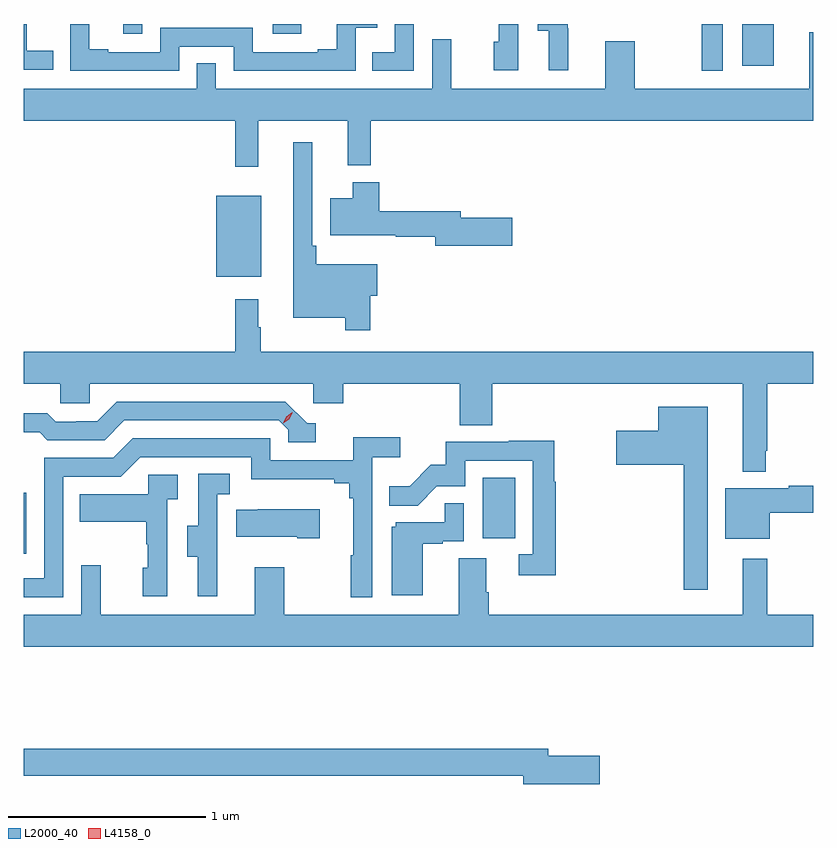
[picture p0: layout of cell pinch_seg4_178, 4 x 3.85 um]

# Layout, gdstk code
import gdstk
lib = gdstk.Library(unit=1e-6, precision=1e-09)
def R(c, l, rs):  # rectangles x0, y0, x1, y1
    for r in rs: c.add(gdstk.rectangle(r[:2], r[2:], *l))
def P(c, l, *ps):  # polygons
    for p in ps: c.add(gdstk.Polygon(p, *l))
L2000_40 = (2000, 40)
L4158_0 = (4158, 0)

pinch_seg4_178 = lib.new_cell('pinch_seg4_178')
R(pinch_seg4_178, L2000_40, [(1091.662,793.296,1091.676,793.606), (1093.988,793.374,1094.152,793.681), (1092.638,794.699,1092.865,795.109), (1095.096,795.741,1095.204,795.979), (1095.302,795.768,1095.46,795.979), (1092.167,795.93,1092.264,795.979), (1092.923,795.93,1093.067,795.979)])
P(pinch_seg4_178, L2000_40, [(1092.45,795.864),(1092.726,795.864),(1092.726,795.741),(1093.344,795.741),(1093.344,795.96),(1093.452,795.96),(1093.452,795.979),(1093.247,795.979),(1093.247,795.85),(1093.151,795.85),(1093.151,795.837),(1092.822,795.837),(1092.822,795.96),(1092.354,795.96),(1092.354,795.837),(1092.091,795.837),(1092.091,795.85),(1091.995,795.85),(1091.995,795.979),(1091.766,795.979),(1091.766,795.977),(1091.898,795.977),(1091.898,795.741),(1092.45,795.741)],
  [(1091.813,795.844),(1091.679,795.844),(1091.679,795.979),(1091.662,795.979),(1091.662,795.747),(1091.813,795.747)],
  [(1094.166,795.979),(1094.068,795.979),(1094.068,795.888),(1094.042,795.888),(1094.042,795.744),(1094.166,795.744)],
  [(1093.638,795.979),(1093.542,795.979),(1093.542,795.837),(1093.429,795.837),(1093.429,795.741),(1093.638,795.741)],
  [(1094.42,795.957),(1094.418,795.957),(1094.418,795.979),(1094.267,795.979),(1094.267,795.946),(1094.321,795.946),(1094.321,795.744),(1094.42,795.744)],
  [(1092.851,795.488),(1093.304,795.488),(1093.304,795.263),(1093.421,795.263),(1093.421,795.488),(1095.662,795.488),(1095.662,795.938),(1095.641,795.938),(1095.641,795.652),(1094.757,795.652),(1094.757,795.892),(1094.609,795.892),(1094.609,795.652),(1093.829,795.652),(1093.829,795.901),(1093.731,795.901),(1093.731,795.652),(1092.636,795.652),(1092.636,795.779),(1092.54,795.779),(1092.54,795.652),(1091.662,795.652),(1091.662,795.488),(1092.733,795.488),(1092.733,795.255),(1092.851,795.255)],
  [(1093.418,794.603),(1093.453,794.603),(1093.453,794.761),(1093.145,794.761),(1093.145,794.857),(1093.125,794.857),(1093.125,795.379),(1093.028,795.379),(1093.028,794.492),(1093.29,794.492),(1093.29,794.427),(1093.418,794.427)],
  [(1094.137,794.997),(1093.876,794.997),(1093.876,795.031),(1093.463,795.031),(1093.463,795.178),(1093.328,795.178),(1093.328,795.097),(1093.214,795.097),(1093.214,794.909),(1093.546,794.909),(1093.546,794.902),(1093.748,794.902),(1093.748,794.855),(1094.137,794.855)],
  [(1095.42,793.819),(1095.427,793.819),(1095.427,794.156),(1095.662,794.156),(1095.662,794.32),(1092.862,794.32),(1092.862,794.444),(1092.85,794.444),(1092.85,794.584),(1092.733,794.584),(1092.733,794.32),(1091.662,794.32),(1091.662,794.156),(1091.847,794.156),(1091.847,794.058),(1091.997,794.058),(1091.997,794.156),(1093.128,794.156),(1093.128,794.058),(1093.28,794.058),(1093.28,794.156),(1093.871,794.156),(1093.871,793.948),(1094.036,793.948),(1094.036,794.156),(1095.305,794.156),(1095.305,793.712),(1095.42,793.712)],
  [(1093.141,793.956),(1093.098,793.956),(1092.987,794.067),(1092.134,794.067),(1092.035,793.968),(1091.928,793.968),(1091.928,793.965),(1091.825,793.965),(1091.783,794.008),(1091.662,794.008),(1091.662,793.911),(1091.744,793.911),(1091.783,793.872),(1092.072,793.872),(1092.171,793.971),(1092.954,793.971),(1093.002,793.923),(1093.002,793.86),(1093.141,793.86)],
  [(1095.127,794.041),(1094.876,794.041),(1094.876,793.918),(1094.664,793.918),(1094.664,793.748),(1095.006,793.748),(1095.006,793.113),(1095.127,793.113)],
  [(1091.862,793.686),(1092.153,793.686),(1092.252,793.785),(1092.816,793.785),(1092.816,793.673),(1093.235,793.673),(1093.235,793.654),(1093.312,793.654),(1093.312,793.577),(1093.331,793.577),(1093.331,793.289),(1093.32,793.289),(1093.32,793.077),(1093.428,793.077),(1093.428,793.784),(1093.57,793.784),(1093.57,793.886),(1093.331,793.886),(1093.331,793.77),(1092.912,793.77),(1092.912,793.881),(1092.215,793.881),(1092.116,793.782),(1091.766,793.782),(1091.766,793.173),(1091.662,793.173),(1091.662,793.077),(1091.862,793.077)],
  [(1094.357,793.66),(1094.35,793.66),(1094.35,793.868),(1094.119,793.868),(1094.119,793.863),(1093.801,793.863),(1093.801,793.746),(1093.724,793.746),(1093.617,793.639),(1093.513,793.639),(1093.513,793.54),(1093.657,793.54),(1093.755,793.638),(1093.899,793.638),(1093.899,793.767),(1094.241,793.767),(1094.241,793.293),(1094.169,793.293),(1094.169,793.188),(1094.357,793.188)],
  [(1092.644,793.293),(1092.642,793.293),(1092.642,793.597),(1092.706,793.597),(1092.706,793.7),(1092.546,793.7),(1092.546,793.437),(1092.491,793.437),(1092.491,793.282),(1092.545,793.282),(1092.545,793.08),(1092.644,793.08)],
  [(1092.39,793.571),(1092.442,793.571),(1092.442,793.695),(1092.294,793.695),(1092.294,793.597),(1091.947,793.597),(1091.947,793.457),(1092.282,793.457),(1092.282,793.343),(1092.292,793.343),(1092.292,793.224),(1092.266,793.224),(1092.266,793.08),(1092.39,793.08)],
  [(1095.442,793.504),(1095.662,793.504),(1095.662,793.64),(1095.538,793.64),(1095.538,793.627),(1095.215,793.627),(1095.215,793.373),(1095.442,793.373)],
  [(1093.684,793.347),(1093.784,793.347),(1093.784,793.359),(1093.89,793.359),(1093.89,793.553),(1093.795,793.553),(1093.795,793.455),(1093.548,793.455),(1093.548,793.434),(1093.526,793.434),(1093.526,793.086),(1093.684,793.086)],
  [(1093.162,793.522),(1092.847,793.522),(1092.847,793.519),(1092.739,793.519),(1092.739,793.382),(1093.049,793.382),(1093.049,793.375),(1093.162,793.375)],
  [(1095.662,792.988),(1095.427,792.988),(1095.427,793.27),(1095.305,793.27),(1095.305,792.988),(1094.018,792.988),(1094.018,793.1),(1094.005,793.1),(1094.005,793.274),(1093.865,793.274),(1093.865,792.988),(1092.981,792.988),(1092.981,793.228),(1092.833,793.228),(1092.833,792.988),(1092.053,792.988),(1092.053,793.237),(1091.955,793.237),(1091.955,792.988),(1091.662,792.988),(1091.662,792.824),(1095.662,792.824)],
  [(1094.581,792.272),(1094.32,792.272),(1094.32,792.308),(1091.662,792.308),(1091.662,792.172),(1094.192,792.172),(1094.192,792.13),(1094.581,792.13)])
P(pinch_seg4_178, L4158_0, [(1092.976,793.958),(1092.976,793.958),(1092.992,793.991),(1093.022,794.012),(1093.023,794.012),(1093.023,794.011),(1093.007,793.978),(1092.977,793.958)])

lib.write_gds('pinch_seg4_178.gds')
